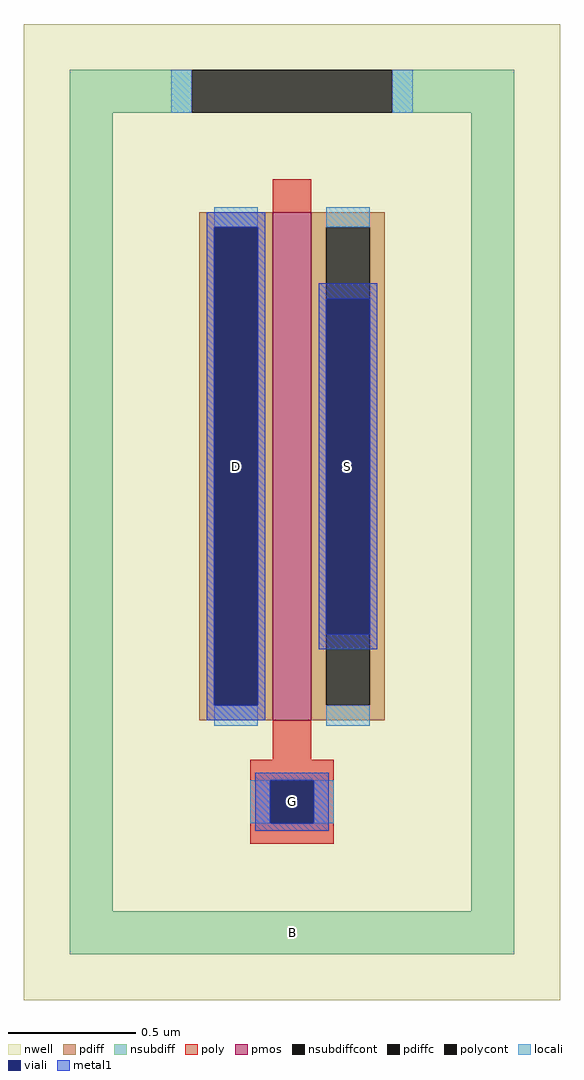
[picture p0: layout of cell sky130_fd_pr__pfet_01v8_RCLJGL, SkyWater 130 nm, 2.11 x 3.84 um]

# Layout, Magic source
magic
tech sky130A
magscale 1 2
<< nwell >>
rect -211 -384 211 384
<< pmos >>
rect -15 -164 15 236
<< pdiff >>
rect -73 224 -15 236
rect -73 -152 -61 224
rect -27 -152 -15 224
rect -73 -164 -15 -152
rect 15 224 73 236
rect 15 -152 27 224
rect 61 -152 73 224
rect 15 -164 73 -152
<< pdiffc >>
rect -61 -152 -27 224
rect 27 -152 61 224
<< nsubdiff >>
rect -175 314 -79 348
rect 79 314 175 348
rect -175 -314 -141 314
rect 141 -314 175 314
rect -175 -348 175 -314
<< nsubdiffcont >>
rect -79 314 79 348
<< poly >>
rect -15 236 15 262
rect -15 -195 15 -164
rect -33 -211 33 -195
rect -33 -245 -17 -211
rect 17 -245 33 -211
rect -33 -261 33 -245
<< polycont >>
rect -17 -245 17 -211
<< locali >>
rect -95 314 -79 348
rect 79 314 95 348
rect -61 224 -27 240
rect -61 -168 -27 -152
rect 27 224 61 240
rect 27 -168 61 -152
rect -33 -245 -17 -211
rect 17 -245 33 -211
<< viali >>
rect -61 -152 -27 224
rect 27 -96 61 168
rect -17 -245 17 -211
<< metal1 >>
rect -67 224 -21 236
rect -67 -152 -61 224
rect -27 -152 -21 224
rect 21 168 67 180
rect 21 -96 27 168
rect 61 -96 67 168
rect 21 -108 67 -96
rect -67 -164 -21 -152
rect -29 -211 29 -205
rect -29 -245 -17 -211
rect 17 -245 29 -211
rect -29 -251 29 -245
<< labels >>
rlabel nsubdiff 0 -331 0 -331 0 B
port 1 nsew
rlabel pdiffc -44 36 -44 36 0 D
port 2 nsew
rlabel pdiffc 44 36 44 36 0 S
port 3 nsew
rlabel polycont 0 -228 0 -228 0 G
port 4 nsew
<< properties >>
string FIXED_BBOX -158 -331 158 331
string gencell sky130_fd_pr__pfet_01v8
string library sky130
string parameters w 2 l 0.15 m 1 nf 1 diffcov 100 polycov 100 guard 1 glc 0 grc 0 gtc 1 gbc 0 tbcov 100 rlcov 100 topc 0 botc 1 poverlap 0 doverlap 1 lmin 0.15 wmin 0.42 class mosfet compatible {sky130_fd_pr__pfet_01v8  sky130_fd_pr__pfet_01v8_lvt sky130_fd_pr__pfet_01v8_hvt  sky130_fd_pr__pfet_g5v0d10v5} full_metal 0 viasrc 70 viadrn 100 viagate 100 viagb 0 viagr 0 viagl 0 viagt 0 doports 1
<< end >>
